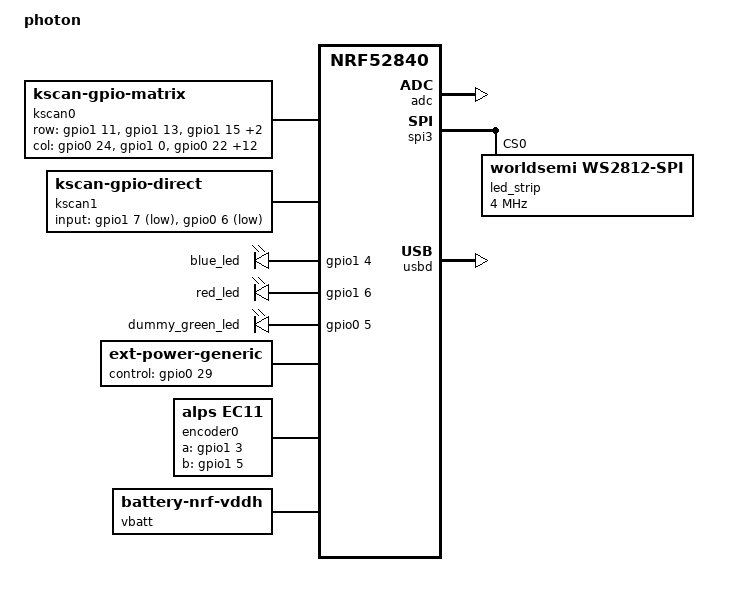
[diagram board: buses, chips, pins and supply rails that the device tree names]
/*
 * Copyright (c) 2024 CannonKeys LLC
 *
 * SPDX-License-Identifier: MIT
 */

/dts-v1/;
#include <nordic/nrf52840_qiaa.dtsi>

#include <dt-bindings/led/led.h>
#include <dt-bindings/zmk/matrix_transform.h>
#include <physical_layouts.dtsi>

#include "photon-pinctrl.dtsi"
#include "photon-layout.dtsi"



/ {
    model = "photon";
    compatible = "cannonkeys,photon";

    chosen {
        zephyr,code-partition = &code_partition;
        zephyr,sram = &sram0;
        zephyr,flash = &flash0;
        zmk,battery = &vbatt;
        zmk,kscan = &kscan_combo;
        zmk,physical-layout = &physical_layout0;
        zmk,underglow = &led_strip;
    };

    kscan0: kscan {
        compatible = "zmk,kscan-gpio-matrix";
        wakeup-source;

        diode-direction = "col2row";
        row-gpios
            = <&gpio1 11 (GPIO_ACTIVE_HIGH | GPIO_PULL_DOWN)>
            , <&gpio1 13 (GPIO_ACTIVE_HIGH | GPIO_PULL_DOWN)>
            , <&gpio1 15 (GPIO_ACTIVE_HIGH | GPIO_PULL_DOWN)>
            , <&gpio1  9 (GPIO_ACTIVE_HIGH | GPIO_PULL_DOWN)>
            , <&gpio1  2 (GPIO_ACTIVE_HIGH | GPIO_PULL_DOWN)>
            ;
        col-gpios
            = <&gpio0 24 GPIO_ACTIVE_HIGH>
            , <&gpio1  0 GPIO_ACTIVE_HIGH>
            , <&gpio0 22 GPIO_ACTIVE_HIGH>
            , <&gpio0 23 GPIO_ACTIVE_HIGH>
            , <&gpio0 20 GPIO_ACTIVE_HIGH>
            , <&gpio0 21 GPIO_ACTIVE_HIGH>
            , <&gpio0 19 GPIO_ACTIVE_HIGH>
            , <&gpio0 17 GPIO_ACTIVE_HIGH>
            , <&gpio0 15 GPIO_ACTIVE_HIGH>
            , <&gpio0 16 GPIO_ACTIVE_HIGH>
            , <&gpio0 13 GPIO_ACTIVE_HIGH>
            , <&gpio0 14 GPIO_ACTIVE_HIGH>
            , <&gpio0 30 GPIO_ACTIVE_HIGH>
            , <&gpio0 28 GPIO_ACTIVE_HIGH>
            , <&gpio0  2 GPIO_ACTIVE_HIGH>
            ;
    };

    kscan1: kscan_toggle {
        compatible = "zmk,kscan-gpio-direct";
        toggle-mode;
        input-gpios
            = <&gpio1 7 GPIO_ACTIVE_LOW>
            , <&gpio0 6 GPIO_ACTIVE_LOW>
            ;
    };

    kscan_combo: kscan_combo {
        compatible = "zmk,kscan-composite";
        
        matrix {
            kscan = <&kscan0>;
        };
        
        switch {
            kscan = <&kscan1>;
            row-offset = <5>;
        };
    };

    aliases {
        led-red = &red_led;
        led-green = &dummy_green_led;
        led-blue = &blue_led;
    };

    leds {
        compatible = "gpio-leds";
        blue_led: led_0 {
            gpios = <&gpio1 4 GPIO_ACTIVE_HIGH>;
        };
        red_led: led_1 {
            gpios = <&gpio1 6 GPIO_ACTIVE_HIGH>;
        };
        dummy_green_led: led_2 {
            /* The official zmk-rgbled-widget strictly demands 3 LED colors.
             * The photon board only has Red and Blue.
             * Mapping Green to an unused, unconnected pin so the build passes.
             */
            gpios = <&gpio0 5 GPIO_ACTIVE_HIGH>;
        };
    };


    ext-power {
        compatible = "zmk,ext-power-generic";
        control-gpios = <&gpio0 29 GPIO_ACTIVE_HIGH>;
    };

    encoder0: encoder0 {
        compatible = "alps,ec11";
        a-gpios = <&gpio1 3 (GPIO_ACTIVE_HIGH | GPIO_PULL_UP)>;
        b-gpios = <&gpio1 5 (GPIO_ACTIVE_HIGH | GPIO_PULL_UP)>;
        steps = <20>;
        status = "okay";
    };

    sensors: sensors {
        compatible = "zmk,keymap-sensors";
        sensors = <&encoder0>;
        triggers-per-rotation = <20>;
    };

    vbatt: vbatt {
        compatible = "zmk,battery-nrf-vddh";
    };

};

&adc {
    status = "okay";
};

&gpiote {
    status = "okay";
};

&gpio0 {
    status = "okay";
};

&gpio1 {
    status = "okay";
};

&spi3 {
    compatible = "nordic,nrf-spim";

    pinctrl-0 = <&spi3_default>;
    pinctrl-1 = <&spi3_sleep>;
    pinctrl-names = "default", "sleep";
    status = "okay";

    led_strip: ws2812@0 {
        compatible = "worldsemi,ws2812-spi";

        /* SPI */
        reg = <0>; /* ignored, but necessary for SPI bindings */
        spi-max-frequency = <4000000>;

        /* WS2812 */
        chain-length = <16>; /* LED strip length */
        spi-one-frame = <0x70>;
        spi-zero-frame = <0x40>;
        color-mapping = <LED_COLOR_ID_GREEN LED_COLOR_ID_RED LED_COLOR_ID_BLUE>;
    };
};

zephyr_udc0: &usbd {
    status = "okay";
};


&flash0 {
    /*
     * For more information, see:
     * http://docs.zephyrproject.org/latest/devices/dts/flash_partitions.html
     */
    partitions {
        compatible = "fixed-partitions";
        #address-cells = <1>;
        #size-cells = <1>;

        sd_partition: partition@0 {
            label = "mbr";
            reg = <0x00000000 0x00001000>;
        };

        code_partition: partition@1000 {
            label = "code_partition";
            reg = <0x00001000 0x000d3000>;
        };

        /*
         * The flash starting at 0x000d4000 and ending at
         * 0x000f3fff is reserved for use by the application.
         */

        /*
         * Storage partition will be used by FCB/LittleFS/NVS
         * if enabled.
         */
        storage_partition: partition@d4000 {
            label = "storage";
            reg = <0x000d4000 0x00020000>;
        };

        boot_partition: partition@f4000 {
            label = "adafruit_boot";
            reg = <0x000f4000 0x0000c000>;
        };
    };
};

&physical_layout0 {
    kscan = <&kscan_combo>;
};
